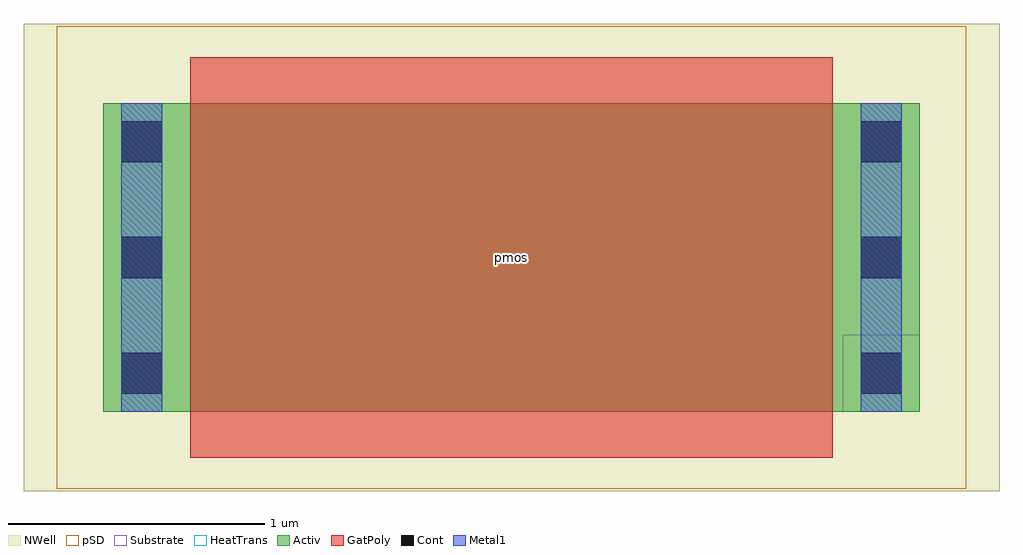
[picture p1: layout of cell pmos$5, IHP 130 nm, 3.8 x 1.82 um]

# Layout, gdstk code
import gdstk
lib = gdstk.Library(unit=1e-6, precision=1e-09)
def R(c, l, rs):  # rectangles x0, y0, x1, y1
    for r in rs: c.add(gdstk.rectangle(r[:2], r[2:], *l))
def A(c, l, x, y, w, h, nx, ny, dx, dy):  # array of equal rectangles
    R(c, l, [(x+i*dx, y+j*dy, x+i*dx+w, y+j*dy+h) for i in range(nx) for j in range(ny)])
Activ = (1, 0)
GatPoly = (5, 0)
Cont = (6, 0)
Metal1 = (8, 0)
pSD = (14, 0)
NWell = (31, 0)
Substrate = (40, 0)
HeatTrans = (51, 0)

pmos_5 = lib.new_cell('pmos$5')
R(pmos_5, Activ, [(0,0,0.3,0.3), (0,0,3.18,1.2), (2.88,0,3.18,0.3)])
R(pmos_5, GatPoly, [(0.34,-0.18,2.84,1.38), (0.34,-0.18,2.84,1.38)])
A(pmos_5, Cont, 0.07, 0.07, 0.16, 0.16, 1, 3, 0, 0.45)
A(pmos_5, Cont, 2.95, 0.07, 0.16, 0.16, 1, 3, 0, 0.45)
R(pmos_5, Metal1, [(0.07,0,0.23,1.2), (0.07,0,0.23,1.2), (2.95,0,3.11,1.2), (2.95,0,3.11,1.2)])
R(pmos_5, pSD, [(-0.18,-0.3,3.36,1.5)])
R(pmos_5, NWell, [(-0.31,-0.31,3.49,1.51)])
R(pmos_5, Substrate, [(2.88,0,3.18,0.3)])
R(pmos_5, HeatTrans, [(0.34,-0.18,2.84,1.38)])
pmos_5.add(gdstk.Label('pmos', (1.59,0.6), layer=63, texttype=0))
pmos_5.add(gdstk.Label('pmos', (1.59,0.6), layer=51, texttype=0))

lib.write_gds('pmos_5.gds')
